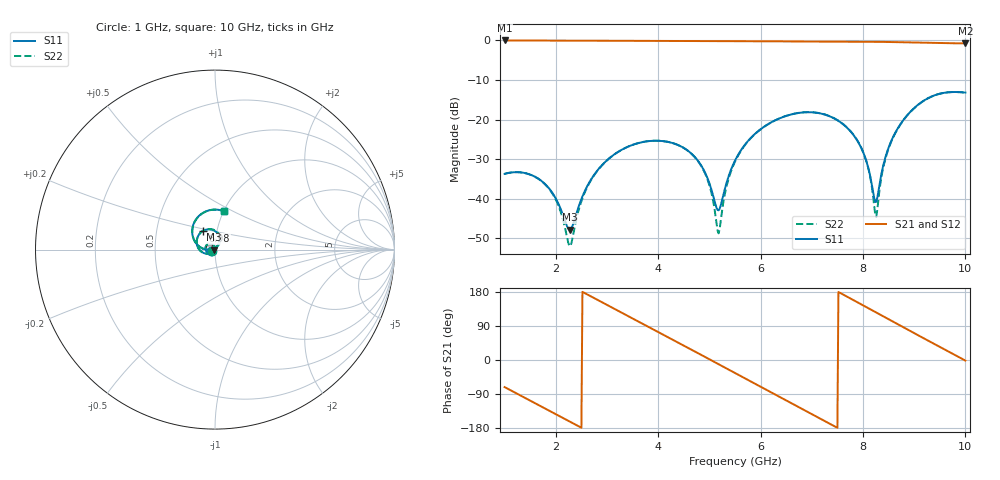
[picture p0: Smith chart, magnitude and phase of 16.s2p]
! Touchstone file exported from HFSS 2018.2.0
!  File:  C:/Users/10024/OneDrive - The University of Nottingham Ningbo China/Year 4/Final Year Project/HFSS project/Passive_Resonator_Antenna.aedt
!  Generated:  5:10:34 下午  3月 11, 2022
!  Design:  SMA_Thru
!  Project:  Passive_Resonator_Antenna
!  Setup:  Setup1
!  Solution:  Sweep
! Variables:
!  MW = 1.992mm
!  ThruL = 16mm
!  g = 0.2mm
!  subH = 0.8mm
!  subX = 20mm
!  subY = 26mm
!  tapW = 1.992mm
# GHZ S MA R 50.000000
! Modal data exported
! Port[1] = SMA_CONNECTOR1_1:1
! Port[2] = SMA_CONNECTOR2_1:1
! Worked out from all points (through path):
!   451 points, 1 GHz to 10 GHz, reference 50 ohm
!   highest |S21| = -0.02 dB at 1 GHz (marker M1); lowest = -0.7 dB at 10 GHz (marker M2)
!   group delay of S21, straight-line fit = 201 ps
!   lowest |S11| = -47.8 dB at 2.28 GHz (marker M3), VSWR 1.01, Z = 49.6 - j0.121 ohm
!   |S11| at or under -10 dB: start of sweep to end of sweep
!   |S22| runs from -52.0 to -13.0 dB; largest |S21 - S12| = 1.8e-14
!   S11 on the Smith chart (normalised r, x): 1 GHz: 0.96, -0.01; 6.98 GHz: 0.86, +0.18; 10 GHz: 1.00, +0.45
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1  0.02064 -162.0  0.9979 -71.5  0.9979 -71.5  0.02065 -159.0
! Gamma ! 0.0151858380091464 30.3716836112162 0.0151858380091249 30.3716836111819
! Port Impedance50 0 50 0
1.8  0.01513 150.8  0.995 -128.7  0.995 -128.7  0.015 147.0
2.04  0.008974 146.0  0.994 -145.9  0.994 -145.9  0.008554 137.5
2.28  0.00408 -162.7  0.993 -163.0  0.993 -163.0  0.002523 -162.5
2.5  0.00993 -116.0  0.992 -178.8  0.992 -178.8  0.009326 -107.6
2.84  0.02398 -124.6  0.9903 156.9  0.9903 156.9  0.02377 -122.0
3.34  0.04334 -154.4  0.9878 121.1  0.9878 121.1  0.04334 -154.6
4  0.05404 162.7  0.9853 73.9  0.9853 73.9  0.05413 160.2
4.8  0.02879 114.9  0.9839 16.4  0.9839 16.4  0.02852 107.3
5  0.01572 113.2  0.9835 1.9  0.9835 1.9  0.01484 99.6
5.18  0.007154 167.7  0.9829 -11.1  0.9829 -11.1  0.003667 165.4
5.5  0.03035 -143.4  0.9812 -34.2  0.9812 -34.2  0.02947 -138.5
6.24  0.0947 174.0  0.9735 -87.9  0.9735 -87.9  0.09459 173.7
6.98  0.1238 122.5  0.9659 -141.3  0.9659 -141.3  0.1242 120.9
7  0.1236 121.1  0.9658 -142.8  0.9658 -142.8  0.124 119.4
7.44  0.1032 89.7  0.964 -174.6  0.964 -174.6  0.1038 87.3
7.86  0.05803 63.9  0.9631 154.7  0.9631 154.7  0.05847 59.8
8.08  0.02786 58.9  0.9616 138.5  0.9616 138.5  0.0278 51.1
8.24  0.009108 110.5  0.9597 126.7  0.9597 126.7  0.006219 97.9
8.5  0.04432 179.9  0.9547 107.5  0.9547 107.5  0.04314 -177.3
9.14  0.1654 140.2  0.9357 60.7  0.9357 60.7  0.165 140.0
10  0.2194 76.8  0.9176 -1.6  0.9176 -1.6  0.2195 76.2
